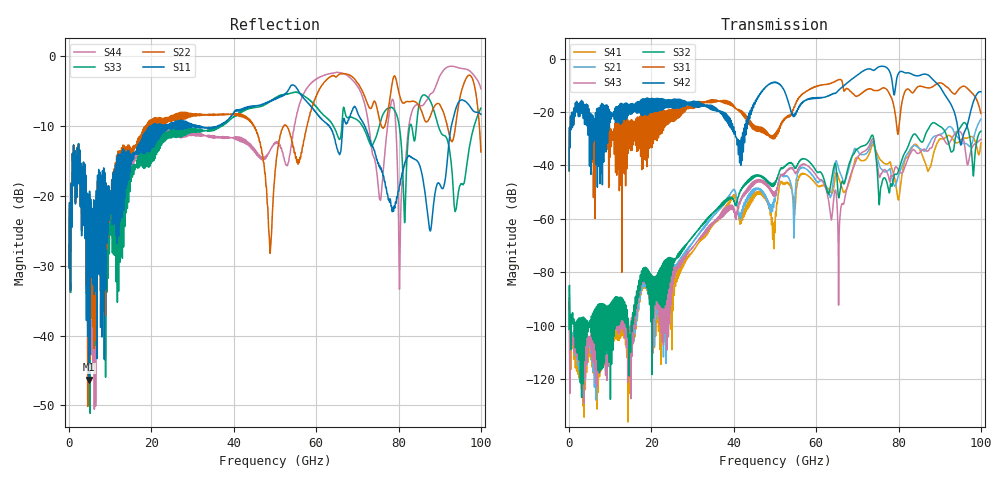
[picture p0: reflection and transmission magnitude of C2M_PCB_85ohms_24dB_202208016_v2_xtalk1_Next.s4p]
! Info: Touchstone file created by Circ.  Input file=Intel_C2M_200G_9p5in_202208016_staggered.circ
# Hz S RI R 50
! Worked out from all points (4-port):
!   10000 points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, 10 MHz to 100 GHz, reference 50 ohm
!   strongest paths, dB at 10 MHz, 25.01 GHz, 50.01 GHz, 75.01 GHz, 100 GHz:
!     S42: -42.0, -18.3, -9.0, -3.3, -12.5
!     S31: -42.1, -23.4, -29.6, -12.0, -20.6
!     S32: -101.4, -79.2, -47.1, -46.3, -27.2
!     S43: -90.9, -86.3, -51.4, -41.7, -30.2
!     S21: -90.5, -82.7, -52.7, -38.2, -22.7
!     S41: -89.8, -83.8, -63.6, -36.3, -31.7
!   lowest |S11| = -46.3 dB at 4.84 GHz (marker M1), VSWR 1.01, Z = 50.2 - j0.457 ohm
!   |S11| at or under -10 dB: start of sweep to 19.52 GHz; 31.93 GHz to 36.01 GHz (4.079 GHz wide, 12 % of centre); 71.75 GHz to 92.81 GHz (21.06 GHz wide, 25.6 % of centre)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
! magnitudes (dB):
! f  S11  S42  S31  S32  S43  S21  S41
! 10 MHz  -30.3  -42.0  -42.1  -101.4  -90.9  -90.5  -89.8
! 4.84 GHz  -46.3  -19.5  -20.7  -100.1  -107.0  -107.5  -110.9
! 41.56 GHz  -7.6  -30.7  -20.1  -49.4  -52.9  -58.7  -60.9
! 48.7 GHz  -6.5  -9.6  -29.0  -46.5  -48.1  -54.8  -55.3
! 76.09 GHz  -16.5  -2.9  -11.0  -45.8  -42.5  -41.9  -38.7
! 95.2 GHz  -6.2  -32.2  -10.7  -25.4  -27.7  -31.2  -30.3
! 100 GHz  -8.3  -12.5  -20.6  -27.2  -30.2  -22.7  -31.7
